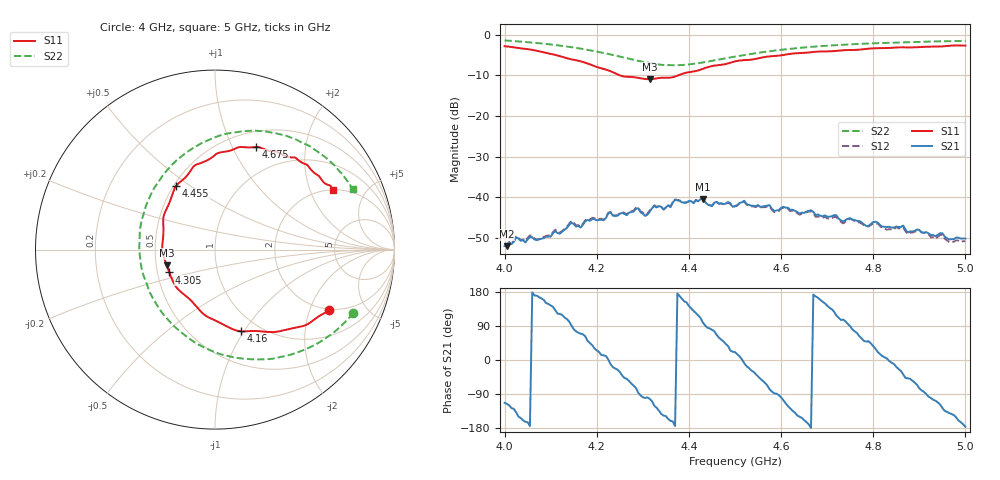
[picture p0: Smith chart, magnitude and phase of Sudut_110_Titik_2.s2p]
# Hz S RI R 50
! CMT, C1220, 16058040, 17.2.0/1
! Date: 15/08/2018 11:41:15
! Data: Format (Calibration Info)
! Freq  S11: Re/Im (F2)  S21: Re/Im (F2)  S12: Re/Im (F2)  S22: Re/Im (F2)
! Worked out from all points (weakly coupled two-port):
!   201 points, 4 GHz to 5 GHz, reference 50 ohm
!   highest |S21| = -40.35 dB at 4.43 GHz (marker M1); lowest = -52.0 dB at 4.005 GHz (marker M2)
!   lowest |S11| = -11.0 dB at 4.315 GHz (marker M3), VSWR 1.79, Z = 28.4 - j5.41 ohm
!   |S11| at or under -10 dB: 4.25 GHz to 4.377 GHz (127.4 MHz wide, 2.95 % of centre)
!   |S22| runs from -7.5 to -1.4 dB; largest |S21 - S12| = 0.00035
!   S11 on the Smith chart (normalised r, x): 4 GHz: 1.95, -2.74; 4.16 GHz: 0.82, -0.97; 4.305 GHz: 0.58, -0.16; 4.455 GHz: 0.51, +0.44; 4.675 GHz: 0.67, +1.24; 5 GHz: 2.03, +2.90
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4e9  0.6364 -0.3379  -0.000984 -0.00233  -0.000917 -0.00242  0.7701 -0.3535
4.005e9  0.6274 -0.3441  -0.0011 -0.00227  -0.00109 -0.00236  0.7614 -0.3649
4.025e9  0.5826 -0.3689  -0.00241 -0.00216  -0.00242 -0.00229  0.722 -0.407
4.07e9  0.4625 -0.432  -0.00295 0.000533  -0.00297 0.000519  0.612 -0.4968
4.12e9  0.2923 -0.4589  -0.00187 0.00306  -0.00202 0.00309  0.4545 -0.5746
4.145e9  0.2015 -0.4535  -0.000126 0.0049  -0.000294 0.00514  0.3612 -0.5989
4.16e9  0.144 -0.4551  0.00138 0.00423  0.0014 0.00435  0.3018 -0.61
4.17e9  0.1104 -0.4478  0.00176 0.00427  0.00174 0.00444  0.2616 -0.6116
4.23e9  -0.0778 -0.3462  0.00641 -0.00126  0.00652 -0.00126  -0.00358 -0.5704
4.29e9  -0.2336 -0.1784  0.000456 -0.00734  0.000479 -0.00752  -0.2484 -0.4054
4.305e9  -0.2546 -0.1273  -0.00107 -0.00584  -0.00117 -0.00593  -0.2961 -0.3498
4.315e9  -0.2694 -0.0877  -0.00149 -0.00657  -0.00162 -0.00674  -0.3251 -0.3068
4.335e9  -0.2926 -0.0211  -0.00541 -0.00564  -0.00555 -0.00559  -0.3725 -0.2145
4.43e9  -0.2427 0.2917  -0.00157 0.00947  -0.00134 0.00946  -0.3849 0.2437
4.455e9  -0.2183 0.3536  0.00204 0.00837  0.00219 0.00832  -0.3384 0.3433
4.5e9  -0.1288 0.4506  0.00735 0.00276  0.00729 0.00265  -0.2245 0.4874
4.52e9  -0.0999 0.4752  0.00901 -0.00131  0.00882 -0.00137  -0.1675 0.5344
4.585e9  0.0425 0.5435  0.000247 -0.00685  0.000244 -0.0066  0.0266 0.6354
4.67e9  0.2191 0.5709  -0.00658 0.000854  -0.00629 0.000981  0.2615 0.659
4.675e9  0.2274 0.5718  -0.00594 0.00129  -0.00561 0.0014  0.274 0.6587
4.835e9  0.4852 0.4842  0.00436 -0.000237  0.00408 -0.000165  0.5874 0.5352
5e9  0.6553 0.3294  -0.00312 -0.000209  -0.00288 -0.000278  0.7672 0.3358
